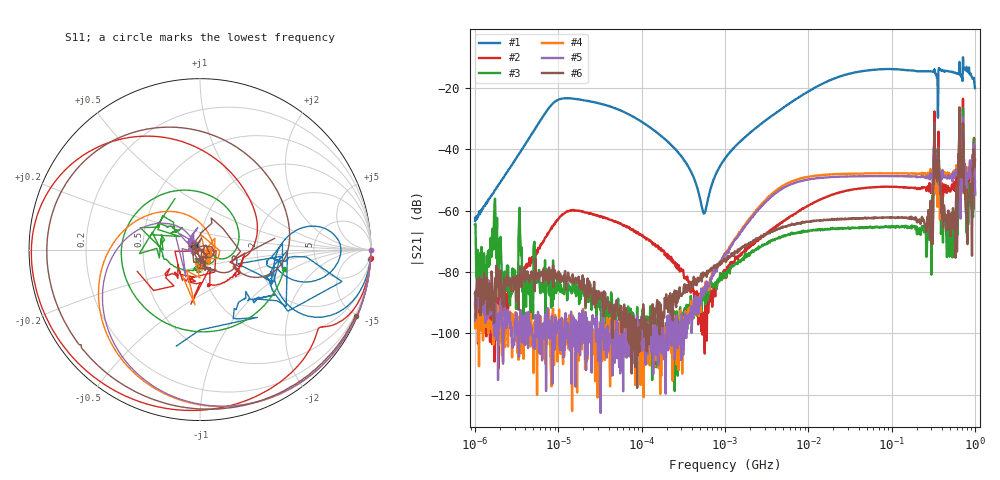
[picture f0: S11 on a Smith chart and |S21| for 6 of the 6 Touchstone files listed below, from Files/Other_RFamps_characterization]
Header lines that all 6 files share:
! ListType=Log
# MHZ S RI R 50
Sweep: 1 kHz to 1 GHz
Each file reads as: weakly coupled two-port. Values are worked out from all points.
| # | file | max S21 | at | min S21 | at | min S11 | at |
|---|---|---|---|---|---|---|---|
| 1 | Dark_RF_amp.s2p | -9.95 dB | 717.6 MHz | -63.4 dB | 1 kHz | -12.6 dB | 651.3 MHz |
| 2 | Dark_RF_amp_OP.s2p | -23.49 dB | 717.6 MHz | -111.4 dB | 1.915 kHz | -20.5 dB | 727.5 MHz |
| 3 | LNA9037BAT_OP.s2p | -26.62 dB | 717.6 MHz | -118.9 dB | 249.1 kHz | -24.6 dB | 326.2 MHz |
| 4 | SOT_89.s2p | -26.25 dB | 651.3 MHz | -125.4 dB | 14.63 kHz | -31.9 dB | 707.7 MHz |
| 5 | SOT_89_9V.s2p | -29.54 dB | 717.6 MHz | -126.0 dB | 32.17 kHz | -33.1 dB | 369.5 MHz |
| 6 | TQP3M9037_LNA_OP.s2p | -26.44 dB | 651.3 MHz | -117.9 dB | 88.3 kHz | -38.0 dB | 642.4 MHz |
